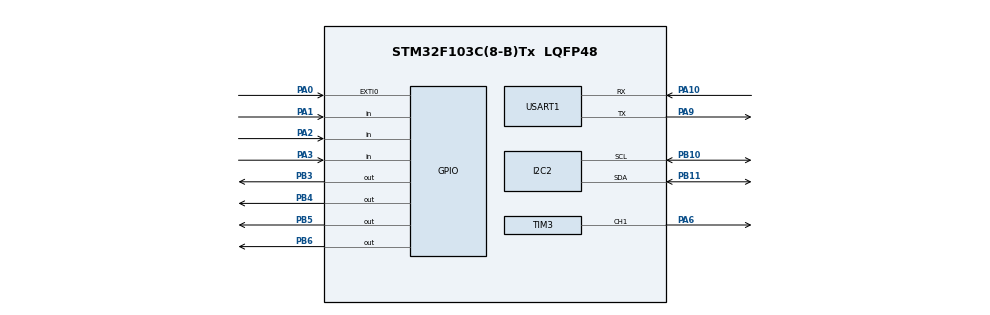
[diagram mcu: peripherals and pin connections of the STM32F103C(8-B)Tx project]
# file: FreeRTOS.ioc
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FREERTOS.Tasks01=defaultTask,0,128,StartDefaultTask,Default,NULL,Dynamic,NULL,NULL;myTask02,-3,128,StartTask02,Default,NULL,Dynamic,NULL,NULL;myTask03,-3,128,StartTask03,Default,NULL,Dynamic,NULL,NULL;myTask04,-3,128,StartTask04,Default,NULL,Dynamic,NULL,NULL
Mcu.Family=STM32F1
Mcu.Name=STM32F103C(8-B)Tx
Mcu.Package=LQFP48
NVIC.EXTI0_IRQn=true\:6\:0\:true\:false\:true\:true\:true\:true\:true
NVIC.PriorityGroup=NVIC_PRIORITYGROUP_4
NVIC.TIM2_IRQn=true\:9\:0\:true\:false\:true\:true\:true\:true\:true
NVIC.TIM4_IRQn=true\:1\:0\:true\:false\:true\:false\:false\:true\:true
NVIC.TimeBase=TIM4_IRQn
NVIC.TimeBaseIP=TIM4
PA0-WKUP.Signal=GPXTI0
PA1.GPIO_PuPd=GPIO_PULLUP
PA1.Signal=GPIO_Input
PA10.Mode=Asynchronous
PA10.Signal=USART1_RX
PA13.Mode=Serial_Wire
PA13.Signal=SYS_JTMS-SWDIO
PA14.Mode=Serial_Wire
PA14.Signal=SYS_JTCK-SWCLK
PA2.GPIO_PuPd=GPIO_PULLUP
PA2.Signal=GPIO_Input
PA3.GPIO_PuPd=GPIO_PULLUP
PA3.Signal=GPIO_Input
PA6.Signal=S_TIM3_CH1
PA9.Mode=Asynchronous
PA9.Signal=USART1_TX
PB10.Mode=I2C
PB10.Signal=I2C2_SCL
PB11.Mode=I2C
PB11.Signal=I2C2_SDA
PB3.GPIO_ModeDefaultOutputPP=GPIO_MODE_OUTPUT_OD
PB3.GPIO_PuPd=GPIO_NOPULL
PB3.Signal=GPIO_Output
PB4.GPIO_ModeDefaultOutputPP=GPIO_MODE_OUTPUT_OD
PB4.GPIO_PuPd=GPIO_NOPULL
PB4.Signal=GPIO_Output
PB5.GPIO_ModeDefaultOutputPP=GPIO_MODE_OUTPUT_OD
PB5.GPIO_PuPd=GPIO_NOPULL
PB5.Signal=GPIO_Output
PB6.GPIO_ModeDefaultOutputPP=GPIO_MODE_OUTPUT_OD
PB6.GPIO_PuPd=GPIO_NOPULL
PB6.Signal=GPIO_Output
ProjectManager.HeapSize=0x200
ProjectManager.StackSize=0x400
ProjectManager.TargetToolchain=MDK-ARM V5.32
RCC.APB1Freq_Value=8000000
RCC.APB2Freq_Value=8000000
SH.S_TIM3_CH1.0=TIM3_CH1,PWM Generation1 CH1
TIM2.Period=50000-1
TIM2.Prescaler=800-1
TIM3.Channel-PWM\ Generation1\ CH1=TIM_CHANNEL_1
TIM3.Period=1000-1
TIM3.Prescaler=8-1
USART1.VirtualMode=VM_ASYNC
VP_FREERTOS_VS_CMSIS_V1.Mode=CMSIS_V1
VP_SYS_VS_tim4.Mode=TIM4
VP_TIM2_VS_ClockSourceINT.Mode=Internal
VP_TIM3_VS_ClockSourceINT.Mode=Internal
board=custom

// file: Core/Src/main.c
/* USER CODE BEGIN Header */
/**
  ******************************************************************************
  * @file           : main.c
  * @brief          : Main program body
  ******************************************************************************
  * @attention
  *
  * Copyright (c) 2025 STMicroelectronics.
  * All rights reserved.
  *
  * This software is licensed under terms that can be found in the LICENSE file
  * in the root directory of this software component.
  * If no LICENSE file comes with this software, it is provided AS-IS.
  *
  ******************************************************************************
  */
/* USER CODE END Header */
#include "main.h"
#include "cmsis_os.h"
#include "i2c.h"
#include "tim.h"
#include "usart.h"
#include "gpio.h"

/* USER CODE BEGIN Includes */

#include "oled.h"
#include "font.h"
#include "FreeRTOS.h"

/* USER CODE END Includes */

/* USER CODE BEGIN PTD */
extern uint8_t EXTI_flag[1];
extern QueueHandle_t queue1Handle;

/* USER CODE END PTD */

/* USER CODE BEGIN PV */
  //判断按键按了几次
uint8_t resumeSchedulerFlag = 0; // 用于标志是否需要恢复调度器

extern TaskHandle_t myTask03Handle ; // 声明任务句柄
void HAL_GPIO_EXTI_Callback(uint16_t GPIO_Pin)//?在这个中断函数中需要从队列中读取数据并加1
{
  if(HAL_GPIO_ReadPin(GPIOA , GPIO_PIN_0) == GPIO_PIN_RESET)
  {
    while (HAL_GPIO_ReadPin(GPIOA , GPIO_PIN_0) == GPIO_PIN_RESET)
    {
      HAL_Delay(1);
    }
    uint8_t a;
    xQueueReceiveFromISR(queue1Handle, &a,NULL);
    a++;
    xQueueSendFromISR(queue1Handle , &a , NULL);
    HAL_Delay(10); // 防抖延时
    // if(resumeSchedulerFlag)
    // {
    //   xTaskResumeFromISR(myTask03Handle);
    //   resumeSchedulerFlag = 0; // 设置标志位 1 被挂起 0 正在运行
    // }
  }

}

/* USER CODE END PV */

void SystemClock_Config(void);
void MX_FREERTOS_Init(void);

int main(void)
{

  /* MCU Configuration--------------------------------------------------------*/

  /* Reset of all peripherals, Initializes the Flash interface and the Systick. */
  HAL_Init();

  /* Configure the system clock */
  SystemClock_Config();

  /* Initialize all configured peripherals */
  MX_GPIO_Init();
  MX_I2C2_Init();
  MX_TIM2_Init();
  MX_TIM3_Init();
  MX_USART1_UART_Init();
  /* USER CODE BEGIN 2 */
  HAL_Delay(50);
  OLED_Init();
  HAL_TIM_Base_Start_IT(&htim2);
  HAL_TIM_PWM_Start(&htim3, TIM_CHANNEL_1); // 启动TIM3的PWM输出
  uint8_t EXTI_flag[1] = {0}; // 定义一个变量来存储EXTI标志
  queue1Handle = xQueueCreate(1, sizeof(uint8_t));
  /* USER CODE END 2 */

  /* Call init function for freertos objects (in cmsis_os2.c) */
  MX_FREERTOS_Init();

  /* Start scheduler */
  osKernelStart();

  /* We should never get here as control is now taken by the scheduler */

  /* Infinite loop */
  while (1)
  {

  }
}

void SystemClock_Config(void)
{
  RCC_OscInitTypeDef RCC_OscInitStruct = {0};
  RCC_ClkInitTypeDef RCC_ClkInitStruct = {0};

  /** Initializes the RCC Oscillators according to the specified parameters
  * in the RCC_OscInitTypeDef structure.
  */
  RCC_OscInitStruct.OscillatorType = RCC_OSCILLATORTYPE_HSI;
  RCC_OscInitStruct.HSIState = RCC_HSI_ON;
  RCC_OscInitStruct.HSICalibrationValue = RCC_HSICALIBRATION_DEFAULT;
  RCC_OscInitStruct.PLL.PLLState = RCC_PLL_NONE;
  if (HAL_RCC_OscConfig(&RCC_OscInitStruct) != HAL_OK)
  {
    Error_Handler();
  }

  /** Initializes the CPU, AHB and APB buses clocks
  */
  RCC_ClkInitStruct.ClockType = RCC_CLOCKTYPE_HCLK|RCC_CLOCKTYPE_SYSCLK
                              |RCC_CLOCKTYPE_PCLK1|RCC_CLOCKTYPE_PCLK2;
  RCC_ClkInitStruct.SYSCLKSource = RCC_SYSCLKSOURCE_HSI;
  RCC_ClkInitStruct.AHBCLKDivider = RCC_SYSCLK_DIV1;
  RCC_ClkInitStruct.APB1CLKDivider = RCC_HCLK_DIV1;
  RCC_ClkInitStruct.APB2CLKDivider = RCC_HCLK_DIV1;

  if (HAL_RCC_ClockConfig(&RCC_ClkInitStruct, FLASH_LATENCY_0) != HAL_OK)
  {
    Error_Handler();
  }
}

void HAL_TIM_PeriodElapsedCallback(TIM_HandleTypeDef *htim)
{
  if (htim->Instance == TIM4)
  {
    HAL_IncTick();
  }
}

void Error_Handler(void)
{
  __disable_irq();
  while (1)
  {
  }
}

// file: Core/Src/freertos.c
/* USER CODE BEGIN Header */
/**
  ******************************************************************************
  * File Name          : freertos.c
  * Description        : Code for freertos applications
  ******************************************************************************
  * @attention
  *
  * Copyright (c) 2025 STMicroelectronics.
  * All rights reserved.
  *
  * This software is licensed under terms that can be found in the LICENSE file
  * in the root directory of this software component.
  * If no LICENSE file comes with this software, it is provided AS-IS.
  *
  ******************************************************************************
  */
/* USER CODE END Header */

#include "FreeRTOS.h"
#include "task.h"
#include "main.h"
#include "cmsis_os.h"

/* USER CODE BEGIN Includes */
#include "usart.h" // Add this line to include the UART handle definition
#include "oled.h"
#include "font.h"
#include "string.h"
#include <stdio.h>
#include "tim.h"
/* USER CODE END Includes */

/* USER CODE BEGIN Variables */

extern uint8_t resumeSchedulerFlag;
QueueHandle_t queue1Handle; // 声明一个队列句柄

/* USER CODE END Variables */
osThreadId defaultTaskHandle;
osThreadId myTask02Handle;
osThreadId myTask03Handle;
osThreadId myTask04Handle;

void StartDefaultTask(void const * argument);
void StartTask02(void const * argument);
void StartTask03(void const * argument);
void StartTask04(void const * argument);

void MX_FREERTOS_Init(void); /* (MISRA C 2004 rule 8.1) */

/* GetIdleTaskMemory prototype (linked to static allocation support) */
void vApplicationGetIdleTaskMemory( StaticTask_t **ppxIdleTaskTCBBuffer, StackType_t **ppxIdleTaskStackBuffer, uint32_t *pulIdleTaskStackSize );

/* USER CODE BEGIN GET_IDLE_TASK_MEMORY */
static StaticTask_t xIdleTaskTCBBuffer;
static StackType_t xIdleStack[configMINIMAL_STACK_SIZE];

void vApplicationGetIdleTaskMemory( StaticTask_t **ppxIdleTaskTCBBuffer, StackType_t **ppxIdleTaskStackBuffer, uint32_t *pulIdleTaskStackSize )
{
  *ppxIdleTaskTCBBuffer = &xIdleTaskTCBBuffer;
  *ppxIdleTaskStackBuffer = &xIdleStack[0];
  *pulIdleTaskStackSize = configMINIMAL_STACK_SIZE;
  /* place for user code */
}
/* USER CODE END GET_IDLE_TASK_MEMORY */

void MX_FREERTOS_Init(void) {

  /* Create the thread(s) */
  /* definition and creation of defaultTask */
  osThreadDef(defaultTask, StartDefaultTask, osPriorityNormal, 0, 128);
  defaultTaskHandle = osThreadCreate(osThread(defaultTask), NULL);

  /* definition and creation of myTask02 */
  osThreadDef(myTask02, StartTask02, osPriorityIdle, 0, 128);
  myTask02Handle = osThreadCreate(osThread(myTask02), NULL);

  /* definition and creation of myTask03 */
  osThreadDef(myTask03, StartTask03, osPriorityIdle, 0, 128);
  myTask03Handle = osThreadCreate(osThread(myTask03), NULL);

  /* definition and creation of myTask04 */
  osThreadDef(myTask04, StartTask04, osPriorityIdle, 0, 128);
  myTask04Handle = osThreadCreate(osThread(myTask04), NULL);

}

void StartDefaultTask(void const * argument)
{
  for(;;)
  {
    osDelay(1);
  }
}

void StartTask02(void const * argument)
{
  /* USER CODE BEGIN StartTask02 */
  TickType_t xLastWakeTime = xTaskGetTickCount();
  /* Infinite loop */
  for(;;)
  {
     //TODO 这里需要将任务调度器每隔7s挂起一次，key1触发时重新恢复

        // vTaskSuspend(myTask03Handle);
        // resumeSchedulerFlag = 1;
        // while(resumeSchedulerFlag)
        // {
        //     // vTaskDelay(10); // 避免死循环卡死CPU
        //     HAL_Delay(1);
        // }
        // vTaskDelay(7000);
  }
  /* USER CODE END StartTask02 */
}

void StartTask03(void const * argument)
{
  /* USER CODE BEGIN StartTask03 */
  /* Infinite loop */
  uint8_t flag;
  for(;;)
  {
    HAL_GPIO_TogglePin(GPIOB,GPIO_PIN_3);

    xQueuePeek(queue1Handle , &flag ,NULL);
    HAL_UART_Transmit(&huart1,&flag, 1, 1000);
    vTaskDelay(1000); // 每隔1000个tick执行一次

  }
  /* USER CODE END StartTask03 */
}

void StartTask04(void const * argument)
{
  /* USER CODE BEGIN StartTask04 */
  /* Infinite loop */

  for(;;)
  {
    // sprintf(set, "%d", EXTI_flag);
    // OLED_NewFrame();
    // // OLED_DrawLine(10, 10, 50, 50, OLED_COLOR_NORMAL);
    // OLED_PrintASCIIString(0, 0, (char *)"FreeRTOS", &afont8x6, OLED_COLOR_NORMAL);
    // OLED_PrintASCIIString(0, 10, (char *)set, &afont8x6, OLED_COLOR_NORMAL);
    // OLED_ShowFrame();

    // vTaskDelay(100); // 每隔1000个tick执行一次

    for(int i = 0; i < 1000; i+=100)
    {

      __HAL_TIM_SET_COMPARE(&htim3, TIM_CHANNEL_1, i ); // 设置PWM占空比
      vTaskDelay(4); // 每隔100个tick执行一次
    }
    vTaskDelay(100); // 每隔1000个tick执行一次
  }
  /* USER CODE END StartTask04 */
}
